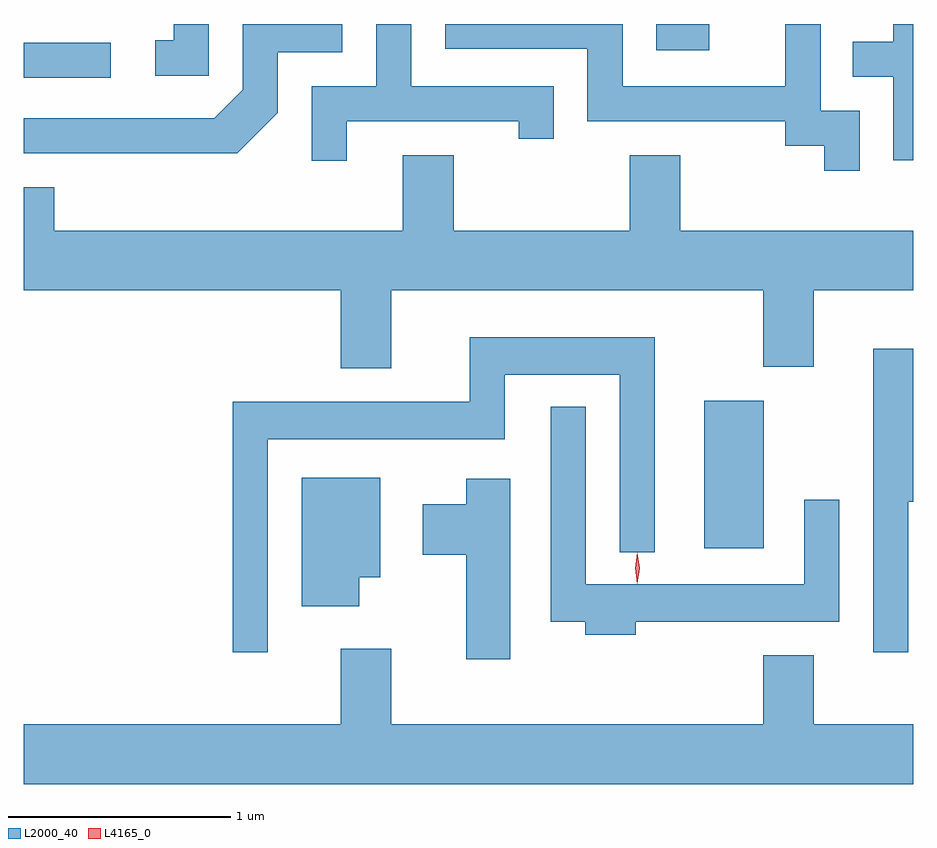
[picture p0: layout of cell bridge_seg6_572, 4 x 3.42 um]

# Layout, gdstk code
import gdstk
lib = gdstk.Library(unit=1e-6, precision=1e-09)
def R(c, l, rs):  # rectangles x0, y0, x1, y1
    for r in rs: c.add(gdstk.rectangle(r[:2], r[2:], *l))
def P(c, l, *ps):  # polygons
    for p in ps: c.add(gdstk.Polygon(p, *l))
L2000_40 = (2000, 40)
L4165_0 = (4165, 0)

bridge_seg6_572 = lib.new_cell('bridge_seg6_572')
R(bridge_seg6_572, L2000_40, [(489.056,1606.596,489.324,1607.259), (485.996,1608.711,486.388,1608.869), (488.841,1608.836,489.078,1608.953)])
P(bridge_seg6_572, L2000_40, [(487.139,1608.554),(487.139,1608.826),(487.429,1608.826),(487.429,1608.953),(486.981,1608.953),(486.981,1608.657),(486.854,1608.529),(485.996,1608.529),(485.996,1608.371),(486.957,1608.371)],
  [(487.449,1608.516),(488.221,1608.516),(488.221,1608.438),(488.379,1608.438),(488.379,1608.674),(487.739,1608.674),(487.739,1608.953),(487.581,1608.953),(487.581,1608.674),(487.291,1608.674),(487.291,1608.338),(487.449,1608.338)],
  [(486.829,1608.953),(486.671,1608.953),(486.671,1608.879),(486.588,1608.879),(486.588,1608.721),(486.829,1608.721)],
  [(489.996,1608.953),(489.906,1608.953),(489.906,1608.874),(489.723,1608.874),(489.723,1608.716),(489.906,1608.716),(489.906,1608.341),(489.996,1608.341)],
  [(489.754,1608.564),(489.579,1608.564),(489.579,1608.953),(489.421,1608.953),(489.421,1608.674),(488.689,1608.674),(488.689,1608.953),(487.891,1608.953),(487.891,1608.841),(488.531,1608.841),(488.531,1608.516),(489.421,1608.516),(489.421,1608.406),(489.596,1608.406),(489.596,1608.293),(489.754,1608.293)],
  [(487.649,1607.756),(489.321,1607.756),(489.321,1607.411),(489.549,1607.411),(489.549,1607.756),(489.996,1607.756),(489.996,1608.024),(488.949,1608.024),(488.949,1608.364),(488.721,1608.364),(488.721,1608.024),(487.929,1608.024),(487.929,1608.364),(487.701,1608.364),(487.701,1608.024),(486.134,1608.024),(486.134,1608.219),(485.996,1608.219),(485.996,1607.756),(487.421,1607.756),(487.421,1607.406),(487.649,1607.406)],
  [(487.094,1607.086),(488.159,1607.086),(488.159,1607.376),(488.676,1607.376),(488.676,1606.578),(488.834,1606.578),(488.834,1607.544),(488.001,1607.544),(488.001,1607.254),(486.936,1607.254),(486.936,1606.128),(487.094,1606.128)],
  [(489.974,1606.806),(489.996,1606.806),(489.996,1607.494),(489.816,1607.494),(489.816,1606.128),(489.974,1606.128)],
  [(488.749,1606.266),(489.664,1606.266),(489.664,1606.813),(489.506,1606.813),(489.506,1606.434),(488.524,1606.434),(488.524,1607.233),(488.366,1607.233),(488.366,1606.266),(488.521,1606.266),(488.521,1606.206),(488.749,1606.206)],
  [(487.504,1606.466),(487.599,1606.466),(487.599,1606.914),(487.246,1606.914),(487.246,1606.336),(487.504,1606.336)],
  [(488.184,1606.909),(487.986,1606.909),(487.986,1606.794),(487.791,1606.794),(487.791,1606.566),(487.986,1606.566),(487.986,1606.096),(488.184,1606.096)],
  [(489.996,1605.804),(489.549,1605.804),(489.549,1606.114),(489.321,1606.114),(489.321,1605.804),(487.649,1605.804),(487.649,1606.144),(487.421,1606.144),(487.421,1605.804),(485.996,1605.804),(485.996,1605.536),(489.996,1605.536)])
P(bridge_seg6_572, L4165_0, [(488.754,1606.437),(488.745,1606.507),(488.754,1606.576),(488.755,1606.576),(488.755,1606.576),(488.765,1606.507),(488.755,1606.437),(488.755,1606.437)],
  [(488.755,1606.439),(488.754,1606.44),(488.745,1606.506),(488.754,1606.572),(488.755,1606.573),(488.755,1606.572),(488.765,1606.506),(488.755,1606.44)])

lib.write_gds('bridge_seg6_572.gds')
